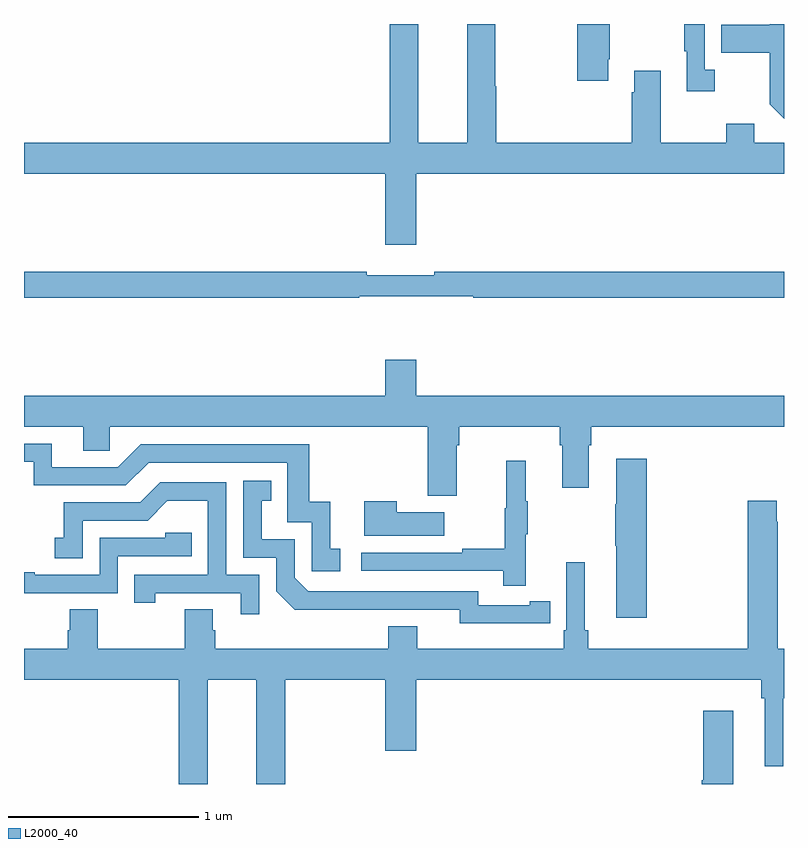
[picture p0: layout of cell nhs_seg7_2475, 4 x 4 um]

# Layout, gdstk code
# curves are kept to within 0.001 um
import gdstk
lib = gdstk.Library(unit=1e-6, precision=1e-09)
def P(c, l, *ps):  # polygons
    for p in ps: c.add(gdstk.Polygon(p, *l))
L2000_40 = (2000, 40)

nhs_seg7_2475 = lib.new_cell('nhs_seg7_2475')
P(nhs_seg7_2475, L2000_40, [(275,1072),(274.926,1072),(274.926,1071.997),(274.669,1071.997),(274.669,1071.85),(274.926,1071.85),(274.926,1071.577),(275,1071.502)],
  [(274.075,1071.814),(274.083,1071.814),(274.083,1072),(273.913,1072),(273.913,1071.702),(274.075,1071.702)],
  [(274.636,1071.758),(274.584,1071.758),(274.584,1072),(274.476,1072),(274.476,1071.857),(274.487,1071.857),(274.487,1071.645),(274.636,1071.645)],
  [(275,1071.376),(274.843,1071.376),(274.843,1071.475),(274.696,1071.475),(274.696,1071.376),(274.351,1071.376),(274.351,1071.754),(274.211,1071.754),(274.211,1071.641),(274.199,1071.641),(274.199,1071.376),(273.485,1071.376),(273.485,1071.672),(273.48,1071.672),(273.48,1072),(273.332,1072),(273.332,1071.376),(273.076,1071.376),(273.076,1072),(272.924,1072),(272.924,1071.376),(271,1071.376),(271,1071.212),(272.9,1071.212),(272.9,1070.838),(273.064,1070.838),(273.064,1071.212),(275,1071.212)],
  [(272.764,1070.568),(273.364,1070.568),(273.364,1070.56),(275,1070.56),(275,1070.696),(273.16,1070.696),(273.16,1070.677),(272.804,1070.677),(272.804,1070.696),(271,1070.696),(271,1070.56),(272.764,1070.56)],
  [(273.277,1069.784),(273.29,1069.784),(273.29,1069.88),(273.821,1069.88),(273.821,1069.784),(273.833,1069.784),(273.833,1069.56),(273.973,1069.56),(273.973,1069.784),(273.986,1069.784),(273.986,1069.88),(275,1069.88),(275,1070.044),(273.064,1070.044),(273.064,1070.233),(272.9,1070.233),(272.9,1070.044),(271,1070.044),(271,1069.88),(271.313,1069.88),(271.313,1069.753),(271.452,1069.753),(271.452,1069.88),(273.125,1069.88),(273.125,1069.518),(273.277,1069.518)],
  [(272.665,1069.239),(272.612,1069.239),(272.612,1069.486),(272.501,1069.486),(272.501,1069.788),(271.614,1069.788),(271.494,1069.668),(271.147,1069.668),(271.147,1069.791),(271,1069.791),(271,1069.695),(271.05,1069.695),(271.05,1069.572),(271.536,1069.572),(271.656,1069.692),(272.385,1069.692),(272.385,1069.377),(272.514,1069.377),(272.514,1069.119),(272.665,1069.119)],
  [(274.277,1069.711),(274.118,1069.711),(274.118,1069.472),(274.111,1069.472),(274.111,1069.255),(274.118,1069.255),(274.118,1068.876),(274.277,1068.876)],
  [(273.641,1069.315),(273.652,1069.315),(273.652,1069.489),(273.641,1069.489),(273.641,1069.702),(273.538,1069.702),(273.538,1069.452),(273.531,1069.452),(273.531,1069.238),(273.307,1069.238),(273.307,1069.218),(272.775,1069.218),(272.775,1069.122),(273.523,1069.122),(273.523,1069.044),(273.641,1069.044)],
  [(273.662,1068.846),(273.77,1068.846),(273.77,1068.962),(273.662,1068.962),(273.662,1068.942),(273.39,1068.942),(273.39,1069.014),(272.496,1069.014),(272.424,1069.086),(272.424,1069.287),(272.251,1069.287),(272.251,1069.491),(272.3,1069.491),(272.3,1069.597),(272.154,1069.597),(272.154,1069.191),(272.328,1069.191),(272.328,1069.014),(272.426,1068.917),(273.294,1068.918),(273.294,1068.845)],
  [(272.238,1069.101),(272.064,1069.101),(272.064,1069.587),(271.718,1069.587),(271.613,1069.482),(271.21,1069.482),(271.21,1069.297),(271.161,1069.297),(271.161,1069.188),(271.308,1069.188),(271.308,1069.386),(271.65,1069.386),(271.754,1069.49),(271.968,1069.49),(271.968,1069.101),(271.579,1069.101),(271.579,1068.954),(271.69,1068.954),(271.69,1069.005),(272.141,1069.005),(272.141,1068.894),(272.238,1068.894)],
  [(271.966,1068.548),(272.222,1068.548),(272.222,1068),(272.375,1068),(272.375,1068.548),(272.9,1068.548),(272.9,1068.174),(273.064,1068.174),(273.064,1068.548),(274.879,1068.548),(274.879,1068.452),(274.898,1068.452),(274.898,1068.093),(274.995,1068.093),(274.995,1068.452),(275,1068.452),(275,1068.712),(274.968,1068.712),(274.968,1069.379),(274.963,1069.379),(274.963,1069.492),(274.808,1069.492),(274.808,1068.712),(273.971,1068.712),(273.971,1068.808),(273.952,1068.808),(273.952,1069.168),(273.855,1069.168),(273.855,1068.808),(273.842,1068.808),(273.842,1068.712),(273.07,1068.712),(273.07,1068.829),(272.918,1068.829),(272.918,1068.712),(272.006,1068.712),(272.006,1068.81),(271.993,1068.81),(271.993,1068.92),(271.846,1068.92),(271.846,1068.712),(271.389,1068.712),(271.389,1068.92),(271.241,1068.92),(271.241,1068.81),(271.229,1068.81),(271.229,1068.712),(271,1068.712),(271,1068.548),(271.814,1068.548),(271.814,1068),(271.966,1068)],
  [(273.211,1069.429),(272.963,1069.429),(272.963,1069.489),(272.792,1069.489),(272.792,1069.307),(273.211,1069.307)],
  [(271.494,1069.2),(271.883,1069.2),(271.883,1069.323),(271.743,1069.323),(271.743,1069.296),(271.398,1069.296),(271.398,1069.101),(271.057,1069.101),(271.057,1069.114),(271,1069.114),(271,1069.005),(271.494,1069.005)],
  [(274.732,1068.385),(274.574,1068.385),(274.574,1068.021),(274.568,1068.021),(274.568,1068),(274.732,1068)])

lib.write_gds('nhs_seg7_2475.gds')
